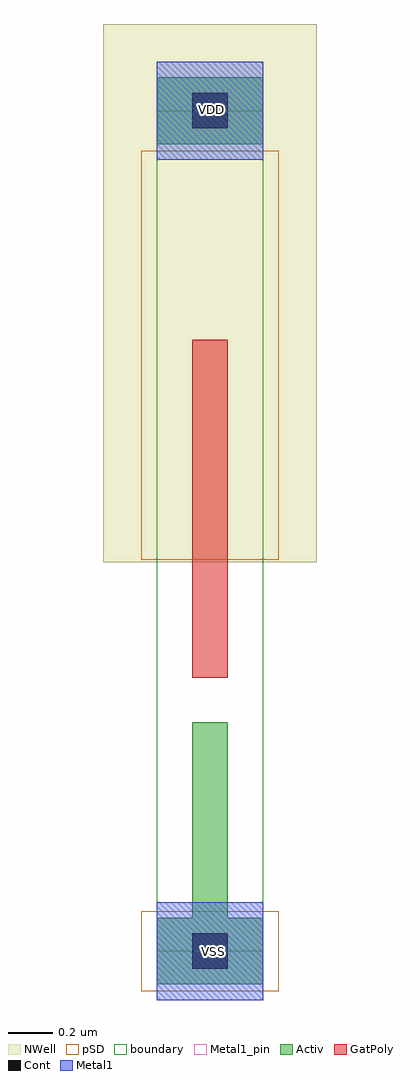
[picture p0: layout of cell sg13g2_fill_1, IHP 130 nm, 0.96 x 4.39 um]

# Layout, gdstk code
import gdstk
lib = gdstk.Library(unit=1e-6, precision=1e-09)
def R(c, l, rs):  # rectangles x0, y0, x1, y1
    for r in rs: c.add(gdstk.rectangle(r[:2], r[2:], *l))
Activ = (1, 0)
GatPoly = (5, 0)
Cont = (6, 0)
Metal1 = (8, 0)
Metal1_pin = (8, 2)
pSD = (14, 0)
NWell = (31, 0)
boundary = (189, 4)

sg13g2_fill_1 = lib.new_cell('sg13g2_fill_1')
R(sg13g2_fill_1, Activ, [(0,-0.15,0.48,0.15), (0.16,0.15,0.32,1.03), (0,3.63,0.48,3.93)])
R(sg13g2_fill_1, GatPoly, [(0.16,1.23,0.32,2.75)])
R(sg13g2_fill_1, Cont, [(0.16,-0.08,0.32,0.08), (0.16,-0.08,0.32,0.08), (0.16,3.7,0.32,3.86), (0.16,3.7,0.32,3.86)])
R(sg13g2_fill_1, Metal1, [(0,-0.22,0.48,0.22), (0,3.56,0.48,4)])
R(sg13g2_fill_1, Metal1_pin, [(0,-0.22,0.48,0.22), (0,3.56,0.48,4)])
R(sg13g2_fill_1, pSD, [(-0.07,-0.18,0.55,0.18), (-0.07,1.76,0.55,3.6)])
R(sg13g2_fill_1, NWell, [(-0.24,1.75,0.72,4.17)])
R(sg13g2_fill_1, boundary, [(0,0,0.48,3.78)])
sg13g2_fill_1.add(gdstk.Label('VDD', (0.245,3.785), layer=8, texttype=25))
sg13g2_fill_1.add(gdstk.Label('VSS', (0.255,0), layer=8, texttype=25))

lib.write_gds('sg13g2_fill_1.gds')
